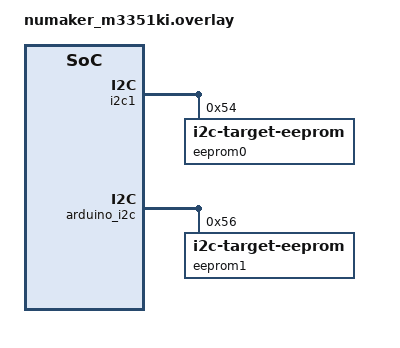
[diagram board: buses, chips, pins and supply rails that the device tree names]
/*
 * SPDX-FileCopyrightText: Copyright (c) 2026 Nuvoton Technology Corporation
 * SPDX-License-Identifier: Apache-2.0
 */

&pinctrl {
	i2c1_default: i2c1_default {
		group0 {
			pinmux = <PB2MFP_I2C1_SDA>,  /* UNO D0 */
				 <PB3MFP_I2C1_SCL>;  /* UNO D1 */
		};
	};
};

&i2c1 {
	pinctrl-0 = <&i2c1_default>;
	pinctrl-names = "default";
	status = "okay";

	eeprom0: eeprom@54 {
		compatible = "zephyr,i2c-target-eeprom";
		reg = <0x54>;
		address-width = <16>;
		size = <1024>;
	};
};

&arduino_i2c {
	eeprom1: eeprom@56 {
		compatible = "zephyr,i2c-target-eeprom";
		reg = <0x56>;
		address-width = <16>;
		size = <1024>;
	};
};
